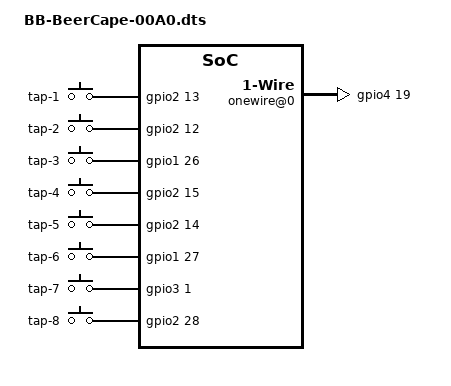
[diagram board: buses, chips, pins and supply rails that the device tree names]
/dts-v1/;
/plugin/;

/ {
    compatible = "ti,beaglebone", "ti,beaglebone-black";

    /* identification */
    part-number = "BB-BeerCap";
    version = "00A0";



    exclusive-use = "P8.11",    "P8.12",    "P8.14",    "P8.15",    "P8.16",    "P8.17",    "P8.18",   "P9.11",    "P9.27",
                    "gpio1_13", "gpio1_12", "gpio0_26", "gpio1_15", "gpio1_14", "gpio0_27", "gpio2_1", "gpio1_28", "gpio3_19";

    fragment@0 {
        target = <&am33xx_pinmux>;
        __overlay__ {
            taps: pinmux_taps{
                pinctrl-single,pins = <
                    0x034 0x2F // P8_11 = GPIO1_13 = Tap 1
                    0x030 0x2F // P8_12 = GPIO1_12 = Tap 2
                    0x028 0x2F // P8_14 = GPIO0_26 = Tap 3
                    0x03C 0x2F // P8_15 = GPIO1_15 = Tap 4
                    0x038 0x2F // P8_16 = GPIO1_14 = Tap 5
                    0x02C 0x2F // P8_17 = GPIO0_27 = Tap 6
                    0x08C 0x2F // P8_18 = GPIO2_1  = Tap 7
                    0x078 0x2F // P9_11 = GPIO1_28 = Tap 8
                >;
            };

            dallas_w1_pins: pinmux_dallas_w1_pins {
                pinctrl-single,pins = <
                    0x1A4 0x37 // P9_27 = GPIO3_19 = Temp
                >;
            };
        };
    };

    fragment@1 {
        target = <&ocp>;
        __overlay__ {
            #address-cells = <1>;
            #size-cells = <1>;

            gpio_keys {
                compatible = "gpio-keys";
                pinctrl-names = "default";
                pinctrl-0 = <&taps>;
                #address-cells = <1>;
                #size-cells = <0>;

                tap_1 {
                    label = "tap-1";
                    linux,code = <1>;
                    gpios = <&gpio2 13 0>;
                    gpio-key,wakeup;
                };
                tap_2 {
                    label = "tap-2";
                    linux,code = <2>;
                    gpios = <&gpio2 12 0>;
                    gpio-key,wakeup;
                };
                tap_3 {
                    label = "tap-3";
                    linux,code = <3>;
                    gpios = <&gpio1 26 0>;
                    gpio-key,wakeup;
                };
                tap_4 {
                    label = "tap-4";
                    linux,code = <4>;
                    gpios = <&gpio2 15 0>;
                    gpio-key,wakeup;
                };
                tap_5 {
                    label = "tap-5";
                    linux,code = <5>;
                    gpios = <&gpio2 14 0>;
                    gpio-key,wakeup;
                };
                tap_6 {
                    label = "tap-6";
                    linux,code = <6>;
                    gpios = <&gpio1 27 0>;
                    gpio-key,wakeup;
                };
                tap_7 {
                    label = "tap-7";
                    linux,code = <7>;
                    gpios = <&gpio3 1 0>;
                    gpio-key,wakeup;
                };
                tap_8 {
                    label = "tap-8";
                    linux,code = <8>;
                    gpios = <&gpio2 28 0>;
                    gpio-key,wakeup;
                };
            };
        };
    };

    fragment@2 {
        target = <&ocp>;
        __overlay__ {
            onewire@0 {
                compatible    = "w1-gpio";
                pinctrl-names = "default";
                pinctrl-0     = <&dallas_w1_pins>;
                status        = "okay";
                gpios         = <&gpio4 19 0>;
            };
        };
    };
};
